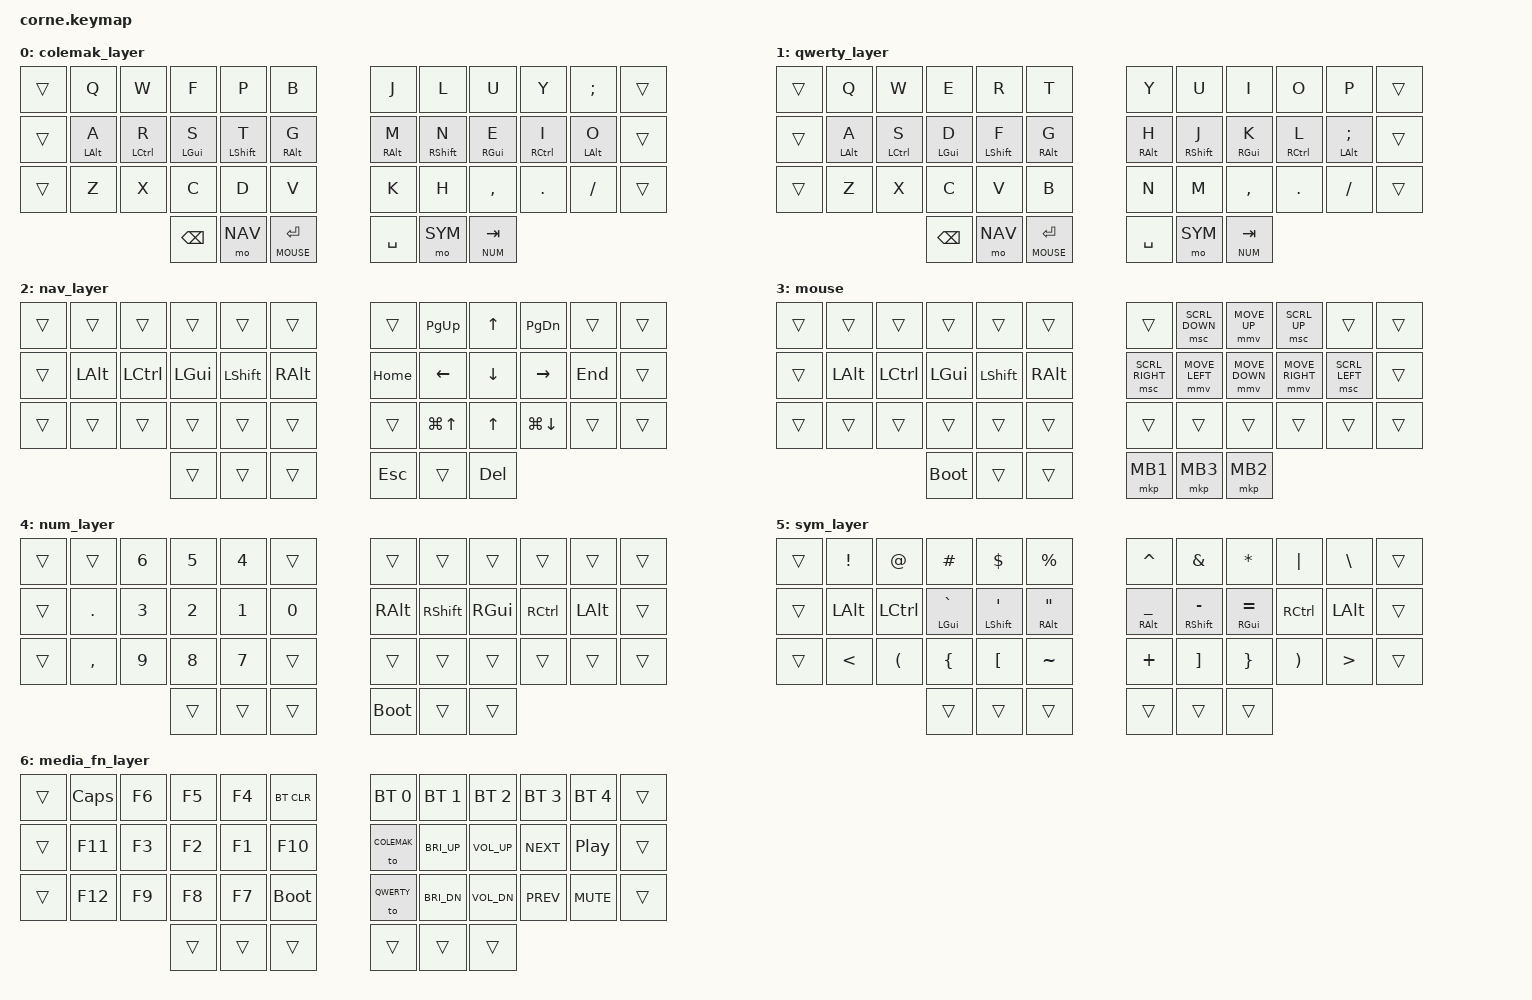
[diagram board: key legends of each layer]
/*
 * Copyright (c) 2020 The ZMK Contributors
 *
 * SPDX-License-Identifier: MIT
 */

#include <behaviors.dtsi>
#include <dt-bindings/zmk/keys.h>
#include <dt-bindings/zmk/bt.h>

#define ZMK_POINTING_DEFAULT_MOVE_VAL 2400  // default: 600
#define ZMK_POINTING_DEFAULT_SCRL_VAL 30    // default: 10

#include <dt-bindings/zmk/pointing.h>

#define COLEMAK 0
#define QWERTY 1
#define NAV 2
#define MOUSE 3
#define NUM 4
#define SYM 5
#define MEDIA_FN 6

/ {
        conditional_layers {
            compatible = "zmk,conditional-layers";
            tri_layer {
                if-layers = <SYM NAV>;
                then-layer = <MEDIA_FN>;
            };
        };

        behaviors {
            hm: homerow_mods {
                compatible = "zmk,behavior-hold-tap";
                #binding-cells = <2>;
                tapping-term-ms = <180>;
                quick-tap-ms = <180>;
                flavor = "tap-preferred";
                bindings = <&kp>, <&kp>;
            };
        };

        keymap {
                compatible = "zmk,keymap";

                colemak_layer {
                        bindings = <
   &trans  &kp Q      &kp W       &kp F      &kp P       &kp B                   &kp J      &kp L       &kp U      &kp Y       &kp SEMI    &trans
   &trans  &hm LALT A &hm LCTRL R &hm LGUI S &hm LSHFT T &hm RALT G              &hm RALT M &hm RSHFT N &hm RGUI E &hm RCTRL I &hm LALT O  &trans
   &trans  &kp Z      &kp X       &kp C      &kp D       &kp V                   &kp K      &kp H       &kp COMMA  &kp DOT     &kp FSLH    &trans
                                  &kp BSPC   &mo NAV     &lt MOUSE RET           &kp SPC    &mo SYM     &lt NUM TAB 
                        >;
                };
                qwerty_layer {
                        bindings = <
   &trans  &kp Q      &kp W       &kp E      &kp R       &kp T                   &kp Y      &kp U       &kp I      &kp O       &kp P          &trans 
   &trans  &hm LALT A &hm LCTRL S &hm LGUI D &hm LSHFT F &hm RALT G              &hm RALT H &hm RSHFT J &hm RGUI K &hm RCTRL L &hm LALT SEMI  &trans
   &trans  &kp Z      &kp X       &kp C      &kp V       &kp B                   &kp N      &kp M       &kp COMMA  &kp DOT     &kp FSLH       &trans 
                                  &kp BSPC   &mo NAV     &lt MOUSE RET           &kp SPC    &mo SYM     &lt NUM TAB 
                        >;
                };
                nav_layer {
                        bindings = <
   &trans  &trans   &trans    &trans   &trans    &trans                  &trans    &kp PG_UP   &kp UP      &kp PG_DN    &trans    &trans 
   &trans  &kp LALT &kp LCTRL &kp LGUI &kp LSHFT &kp RALT                &kp HOME  &kp LEFT    &kp DOWN    &kp RIGHT    &kp END   &trans
   &trans  &trans   &trans    &trans   &trans    &trans                  &trans    &kp LG(UP)  &kp UP      &kp LG(DOWN) &trans    &trans 
                              &trans   &trans    &trans                  &kp ESC   &trans      &kp DEL
                        >;
                };
                mouse {
                        bindings = <
    &trans  &trans   &trans    &trans      &trans    &trans              &trans          &msc SCRL_DOWN  &mmv MOVE_UP    &msc SCRL_UP     &trans         &trans
    &trans  &kp LALT &kp LCTRL &kp LGUI    &kp LSHFT &kp RALT            &msc SCRL_RIGHT &mmv MOVE_LEFT  &mmv MOVE_DOWN  &mmv MOVE_RIGHT  &msc SCRL_LEFT &trans
    &trans  &trans   &trans    &trans      &trans    &trans              &trans          &trans          &trans          &trans           &trans         &trans
                               &bootloader &trans    &trans              &mkp MB1        &mkp MB3        &mkp MB2
                        >;
                };
                num_layer {
                        bindings = <
   &trans  &trans     &kp N6   &kp N5   &kp N4   &trans                  &trans      &trans      &trans      &trans     &trans    &trans 
   &trans  &kp DOT    &kp N3   &kp N2   &kp N1   &kp N0                  &kp RALT    &kp RSHFT   &kp RGUI    &kp RCTRL  &kp LALT  &trans
   &trans  &kp COMMA  &kp N9   &kp N8   &kp N7   &trans                  &trans      &trans      &trans      &trans     &trans    &trans 
                               &trans   &trans   &trans                  &bootloader &trans      &trans
                        >;
                };
                sym_layer {
                        bindings = <
   &trans  &kp EXCL &kp AT    &kp HASH       &kp DLLR      &kp PRCNT             &kp CARET      &kp AMPS        &kp ASTRK      &kp PIPE  &kp BSLH  &trans 
   &trans  &kp LALT &kp LCTRL &hm LGUI GRAVE &hm LSHFT SQT &hm RALT DQT          &hm RALT UNDER &hm RSHFT MINUS &hm RGUI EQUAL &kp RCTRL &kp LALT  &trans
   &trans  &kp LT   &kp LPAR  &kp LBRC       &kp LBKT      &kp TILDE             &kp PLUS       &kp RBKT        &kp RBRC       &kp RPAR  &kp GT    &trans 
                              &trans         &trans        &trans                &trans         &trans          &trans
                        >;
                };
                media_fn_layer {
                        bindings = <
   &trans  &kp CAPS &kp F6   &kp F5   &kp F4   &bt BT_CLR                &bt BT_SEL 0 &bt BT_SEL 1  &bt BT_SEL 2  &bt BT_SEL 3 &bt BT_SEL 4       &trans 
   &trans  &kp F11  &kp F3   &kp F2   &kp F1   &kp F10                   &to COLEMAK  &kp C_BRI_UP  &kp C_VOL_UP  &kp C_NEXT   &kp C_PLAY_PAUSE   &trans
   &trans  &kp F12  &kp F9   &kp F8   &kp F7   &bootloader               &to QWERTY   &kp C_BRI_DN  &kp C_VOL_DN  &kp C_PREV   &kp C_MUTE         &trans 
                             &trans   &trans   &trans                    &trans       &trans        &trans
                        >;
                };
        };
};
